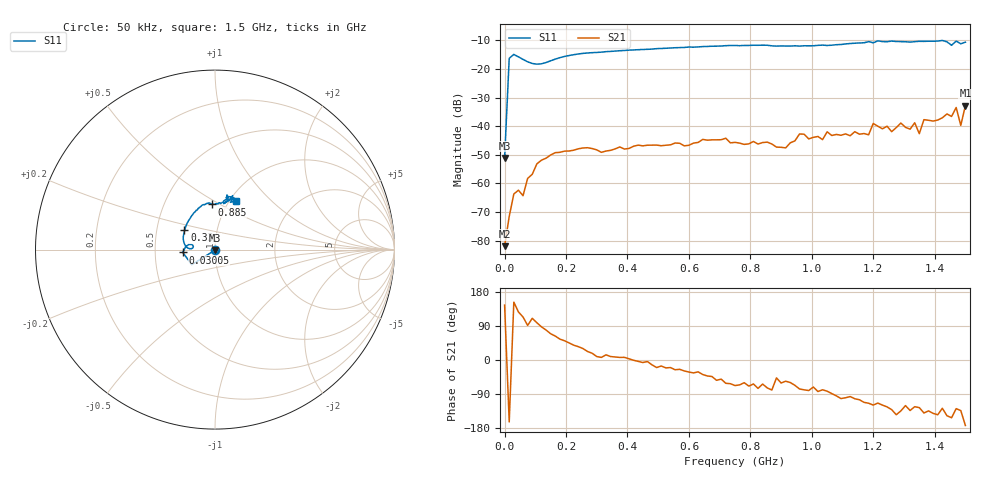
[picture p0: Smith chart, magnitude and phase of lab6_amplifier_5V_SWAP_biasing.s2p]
# HZ S RI R 50
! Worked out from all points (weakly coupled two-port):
!   101 points, 50 kHz to 1.5 GHz, reference 50 ohm
!   highest |S21| = -32.76 dB at 1.5 GHz (marker M1); lowest = -81.9 dB at 50 kHz (marker M2)
!   lowest |S11| = -51.1 dB at 50 kHz (marker M3), VSWR 1.01, Z = 50 - j0.277 ohm
!   |S11| at or under -10 dB: start of sweep to 1.424 GHz; 1.425 GHz to end of sweep
!   S12 and S22 are empty: the file has one direction only
!   S11 on the Smith chart (normalised r, x): 50 kHz: 1.00, -0.01; 30.05 MHz: 0.70, -0.02; 330 MHz: 0.69, +0.16; 885 MHz: 0.85, +0.46; 1.5 GHz: 1.07, +0.64
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50000  -0.000169 -0.00278  -6.56e-05 4.62e-05  0 0  0 0
1.50495e7  -0.1293 -0.0845  -0.000254 -7.6e-05  0 0  0 0
3.0049e7  -0.1795 -0.0159  -0.000582 0.000301  0 0  0 0
6.0048e7  -0.1447 0.0287  -0.000243 0.000562  0 0  0 0
7.50475e7  -0.1309 0.0286  -2.75e-05 0.00123  0 0  0 0
1.20046e8  -0.1234 0.00984  0.000113 0.00255  0 0  0 0
2.550415e8  -0.1772 0.0632  0.00361 0.0021  0 0  0 0
3.30039e8  -0.17 0.1087  0.00359 0.000871  0 0  0 0
5.10033e8  -0.1286 0.1896  0.0044 -0.00125  0 0  0 0
7.50025e8  -0.0631 0.2509  0.00201 -0.00484  0 0  0 0
8.850205e8  -0.0184 0.2514  0.00294 -0.00317  0 0  0 0
1.005016e9  0.0177 0.2549  0.00205 -0.00607  0 0  0 0
1.18501e9  0.0686 0.2943  -0.0029 -0.00649  0 0  0 0
1.20001e9  0.0713 0.2788  -0.00543 -0.0098  0 0  0 0
1.260008e9  0.0653 0.3015  -0.00529 -0.00608  0 0  0 0
1.335006e9  0.0716 0.2929  -0.00631 -0.00964  0 0  0 0
1.350005e9  0.0758 0.2963  -0.00434 -0.00604  0 0  0 0
1.365004e9  0.0786 0.2944  -0.00998 -0.00842  0 0  0 0
1.455002e9  0.0487 0.2564  -0.0132 -0.00689  0 0  0 0
1.470001e9  0.1054 0.2895  -0.0132 -0.0167  0 0  0 0
1.485e9  0.0855 0.2631  -0.00713 -0.00752  0 0  0 0
1.5e9  0.1176 0.2712  -0.0228 -0.00288  0 0  0 0
